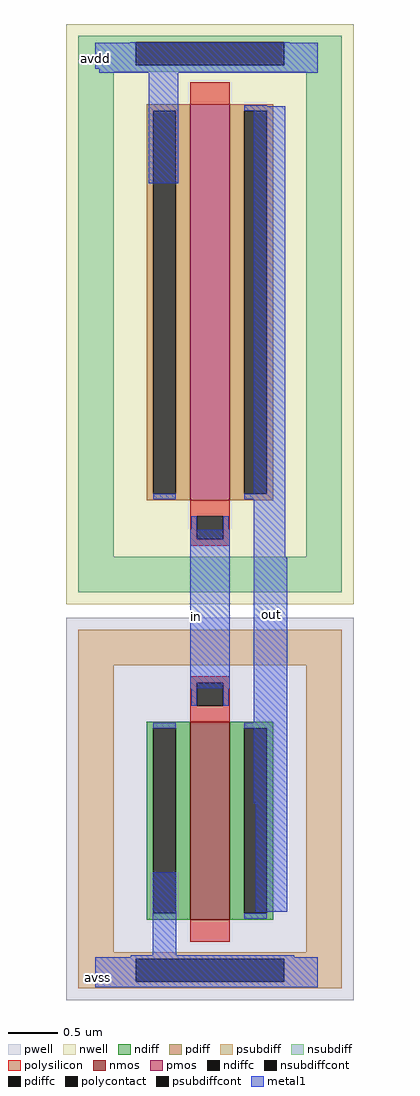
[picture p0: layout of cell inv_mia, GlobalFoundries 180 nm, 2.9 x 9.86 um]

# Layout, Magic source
magic
tech gf180mcuD
magscale 1 5
<< metal1 >>
rect 2604 116 2829 142
rect 2608 112 2829 116
rect 2658 0 2688 112
rect 2700 -510 2740 -350
rect 2764 -378 2796 78
rect 2764 -626 2798 -378
rect 2662 -780 2686 -696
rect 2766 -736 2798 -626
rect 2640 -782 2805 -780
rect 2604 -812 2829 -782
use nfet_03v3_Q7US5R  XM3
transform 1 0 2720 0 1 -632
box -145 -193 145 193
use pfet_03v3_YXHA8C  XM4
transform 1 0 2720 0 1 -132
box -145 -293 145 293
<< labels >>
rlabel metal1 2604 126 2604 126 7 avdd
port 0 w
rlabel metal1 2606 -802 2606 -802 7 avss
port 1 w
rlabel metal1 2706 -438 2706 -438 7 in
port 2 w
rlabel metal1 2782 -436 2782 -436 7 out
port 3 w
<< end >>

# cell nfet_03v3_Q7US5R: kit device nfet_03v3, w 2.0 l 0.4 m 1 nf 1 diffcov 100 polycov 100 guard 1 glc 0 grc 0 gtc 0 gbc 1 tbcov 100 rlcov 100 topc 1 botc 0 poverlap 0 doverlap 1 lmin 0.28 wmin 0.22 class mosfet full_metal 0 compatible {nfet_03v3 nfet_06v0 nfet_06v0_nvt}

# cell pfet_03v3_YXHA8C: kit device pfet_03v3, w 4.0 l 0.4 m 1 nf 1 diffcov 100 polycov 100 guard 1 glc 0 grc 0 gtc 1 gbc 0 tbcov 100 rlcov 100 topc 0 botc 1 poverlap 0 doverlap 1 lmin 0.28 wmin 0.22 class mosfet full_metal 0 compatible {pfet_03v3 pfet_06v0}
